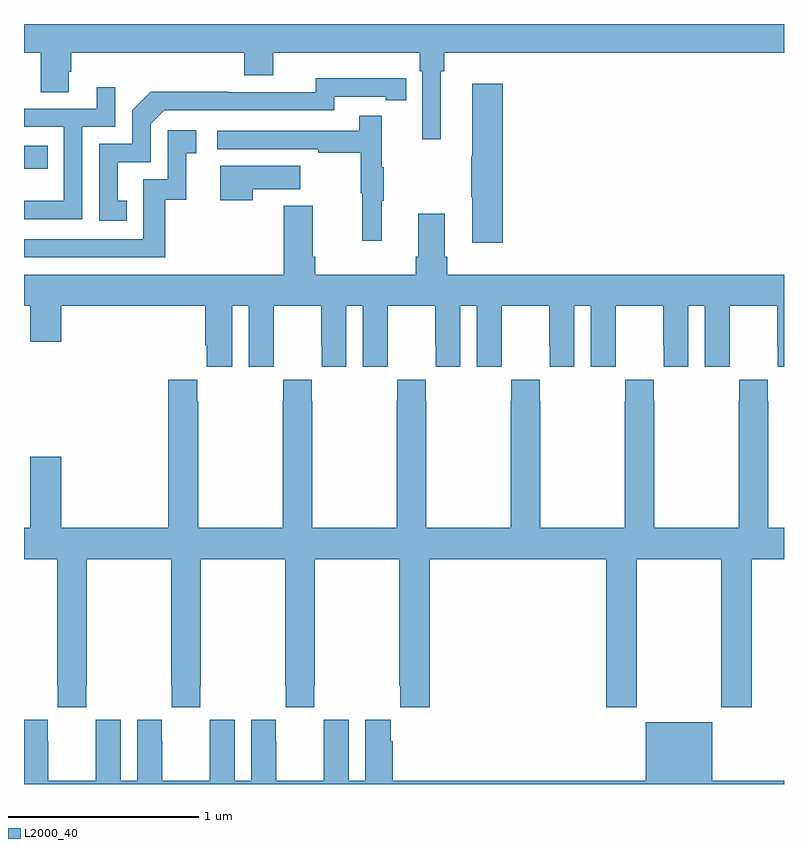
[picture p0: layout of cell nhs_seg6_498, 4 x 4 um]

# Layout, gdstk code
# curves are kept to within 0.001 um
import gdstk
lib = gdstk.Library(unit=1e-6, precision=1e-09)
def R(c, l, rs):  # rectangles x0, y0, x1, y1
    for r in rs: c.add(gdstk.rectangle(r[:2], r[2:], *l))
def P(c, l, *ps):  # polygons
    for p in ps: c.add(gdstk.Polygon(p, *l))
L2000_40 = (2000, 40)

nhs_seg6_498 = lib.new_cell('nhs_seg6_498')
R(nhs_seg6_498, L2000_40, [(141,934.737,141.125,934.86)])
P(nhs_seg6_498, L2000_40, [(141,935.348),(141.088,935.348),(141.088,935.14),(141.235,935.14),(141.235,935.25),(141.248,935.25),(141.248,935.348),(142.16,935.348),(142.16,935.231),(142.312,935.231),(142.312,935.348),(143.084,935.348),(143.084,935.252),(143.097,935.252),(143.097,934.893),(143.194,934.893),(143.194,935.252),(143.213,935.252),(143.213,935.348),(145,935.348),(145,935.5),(141,935.5)],
  [(141.542,934.569),(141.493,934.569),(141.493,934.773),(141.666,934.773),(141.666,934.974),(141.738,935.046),(142.632,935.046),(142.632,935.118),(142.904,935.118),(142.904,935.098),(143.012,935.098),(143.012,935.214),(142.536,935.215),(142.536,935.142),(142.076,935.142),(142.076,935.144),(141.668,935.144),(141.57,935.046),(141.57,934.869),(141.396,934.869),(141.396,934.464),(141.542,934.464)],
  [(143.519,935.185),(143.36,935.185),(143.36,934.805),(143.353,934.805),(143.353,934.588),(143.36,934.588),(143.36,934.35),(143.519,934.35)],
  [(141.306,934.959),(141.48,934.959),(141.48,935.167),(141.383,935.167),(141.383,935.055),(141,935.055),(141,934.959),(141.21,934.959),(141.21,934.57),(141,934.57),(141,934.473),(141.306,934.473)],
  [(142.883,934.571),(142.894,934.571),(142.894,934.745),(142.883,934.745),(142.883,935.017),(142.765,935.017),(142.765,934.938),(142.017,934.938),(142.017,934.842),(142.549,934.842),(142.549,934.822),(142.773,934.822),(142.773,934.608),(142.78,934.608),(142.78,934.359),(142.883,934.359)],
  [(141.743,934.575),(141.854,934.575),(141.854,934.821),(141.907,934.821),(141.907,934.942),(141.756,934.942),(141.756,934.683),(141.627,934.683),(141.627,934.368),(141,934.368),(141,934.272),(141.743,934.272)],
  [(142.205,934.631),(142.453,934.631),(142.453,934.753),(142.034,934.753),(142.034,934.572),(142.205,934.572)],
  [(141,934.016),(141.032,934.016),(141.032,933.828),(141.196,933.828),(141.196,934.016),(141.953,934.016),(141.953,933.808),(141.962,933.808),(141.962,933.696),(142.096,933.696),(142.096,934.016),(142.184,934.016),(142.184,933.696),(142.314,933.696),(142.314,933.808),(142.315,933.808),(142.315,934.016),(142.565,934.016),(142.565,933.808),(142.566,933.808),(142.566,933.696),(142.696,933.696),(142.696,934.016),(142.784,934.016),(142.784,933.696),(142.914,933.696),(142.914,933.808),(142.915,933.808),(142.915,934.016),(143.165,934.016),(143.165,933.808),(143.166,933.808),(143.166,933.696),(143.296,933.696),(143.296,934.016),(143.384,934.016),(143.384,933.696),(143.514,933.696),(143.514,933.808),(143.515,933.808),(143.515,934.016),(143.765,934.016),(143.765,933.808),(143.766,933.808),(143.766,933.696),(143.896,933.696),(143.896,934.016),(143.984,934.016),(143.984,933.696),(144.114,933.696),(144.114,933.808),(144.115,933.808),(144.115,934.016),(144.365,934.016),(144.365,933.808),(144.366,933.808),(144.366,933.696),(144.496,933.696),(144.496,934.016),(144.584,934.016),(144.584,933.696),(144.714,933.696),(144.714,933.808),(144.715,933.808),(144.715,934.016),(144.965,934.016),(144.965,933.808),(144.966,933.808),(144.966,933.696),(145,933.696),(145,934.18),(143.228,934.18),(143.228,934.276),(143.215,934.276),(143.215,934.501),(143.075,934.501),(143.075,934.276),(143.063,934.276),(143.063,934.18),(142.532,934.18),(142.532,934.276),(142.519,934.276),(142.519,934.543),(142.367,934.543),(142.367,934.18),(141,934.18)],
  [(143.718,933.515),(143.715,933.515),(143.715,933.628),(143.565,933.628),(143.565,933.515),(143.563,933.515),(143.563,932.848),(143.118,932.848),(143.118,933.515),(143.115,933.515),(143.115,933.628),(142.965,933.628),(142.965,933.515),(142.963,933.515),(142.963,932.848),(142.518,932.848),(142.518,933.515),(142.515,933.515),(142.515,933.628),(142.365,933.628),(142.365,933.515),(142.363,933.515),(142.363,932.848),(141.918,932.848),(141.918,933.515),(141.911,933.515),(141.911,933.628),(141.758,933.628),(141.758,932.848),(141.196,932.848),(141.196,933.223),(141.032,933.223),(141.032,932.848),(141,932.848),(141,932.684),(141.175,932.684),(141.175,932.017),(141.177,932.017),(141.177,931.905),(141.327,931.905),(141.327,932.017),(141.33,932.017),(141.33,932.684),(141.775,932.684),(141.775,932.017),(141.777,932.017),(141.777,931.905),(141.927,931.905),(141.927,932.017),(141.93,932.017),(141.93,932.684),(142.375,932.684),(142.375,932.017),(142.377,932.017),(142.377,931.905),(142.527,931.905),(142.527,932.017),(142.53,932.017),(142.53,932.684),(142.975,932.684),(142.975,932.017),(142.981,932.017),(142.981,931.905),(143.135,931.905),(143.135,932.684),(144.065,932.684),(144.065,931.905),(144.225,931.905),(144.225,932.684),(144.67,932.684),(144.67,931.905),(144.83,931.905),(144.83,932.684),(145,932.684),(145,932.848),(144.918,932.848),(144.918,933.515),(144.915,933.515),(144.915,933.628),(144.765,933.628),(144.765,933.515),(144.763,933.515),(144.763,932.848),(144.318,932.848),(144.318,933.515),(144.315,933.515),(144.315,933.628),(144.165,933.628),(144.165,933.515),(144.163,933.515),(144.163,932.848),(143.718,932.848)],
  [(145,931.516),(144.622,931.516),(144.622,931.825),(144.272,931.825),(144.272,931.516),(142.94,931.516),(142.94,931.724),(142.93,931.724),(142.93,931.837),(142.796,931.837),(142.796,931.516),(142.708,931.516),(142.708,931.837),(142.578,931.837),(142.578,931.724),(142.577,931.724),(142.577,931.516),(142.327,931.516),(142.327,931.724),(142.326,931.724),(142.326,931.837),(142.196,931.837),(142.196,931.516),(142.108,931.516),(142.108,931.837),(141.978,931.837),(141.978,931.724),(141.977,931.724),(141.977,931.516),(141.727,931.516),(141.727,931.724),(141.726,931.724),(141.726,931.837),(141.596,931.837),(141.596,931.516),(141.508,931.516),(141.508,931.837),(141.378,931.837),(141.378,931.724),(141.377,931.724),(141.377,931.516),(141.127,931.516),(141.127,931.724),(141.126,931.724),(141.126,931.837),(141,931.837),(141,931.5),(145,931.5)])

lib.write_gds('nhs_seg6_498.gds')
